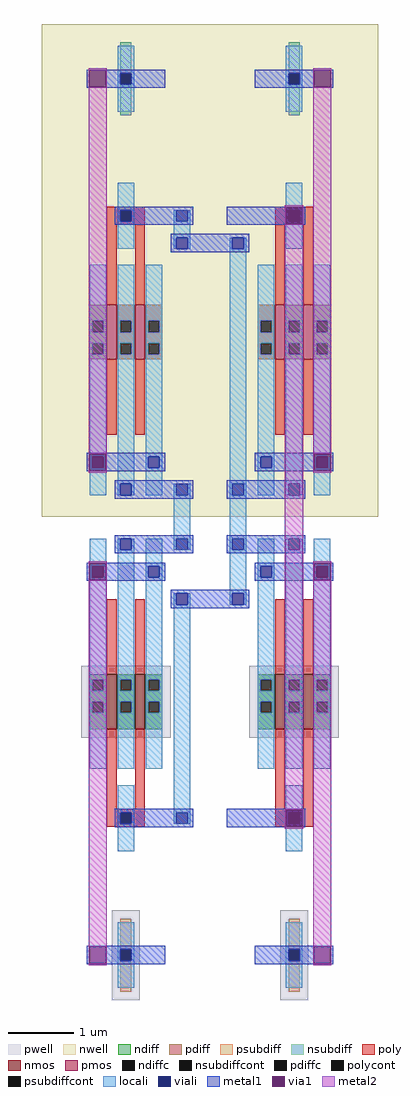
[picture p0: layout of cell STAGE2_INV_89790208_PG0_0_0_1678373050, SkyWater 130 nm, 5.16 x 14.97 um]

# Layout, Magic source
magic
tech sky130A
magscale 1 2
<< locali >>
rect 405 2419 413 2453
rect 447 2419 455 2453
rect 405 2369 455 2419
rect 405 2335 413 2369
rect 447 2335 455 2369
rect 577 2335 585 2369
rect 619 2335 627 2369
rect 577 1613 627 2335
rect 405 1579 413 1613
rect 447 1579 455 1613
rect 405 1445 455 1579
rect 405 1411 413 1445
rect 447 1411 455 1445
rect 577 1579 585 1613
rect 619 1579 627 1613
rect 577 1445 627 1579
rect 577 1411 585 1445
rect 619 1411 627 1445
rect 577 1277 627 1411
rect 405 1243 413 1277
rect 447 1243 455 1277
rect 577 1243 585 1277
rect 619 1243 627 1277
rect 405 605 455 1243
rect 405 571 413 605
rect 447 571 455 605
<< viali >>
rect 413 2419 447 2453
rect 413 2335 447 2369
rect 585 2335 619 2369
rect 413 1579 447 1613
rect 413 1411 447 1445
rect 585 1579 619 1613
rect 585 1411 619 1445
rect 413 1243 447 1277
rect 585 1243 619 1277
rect 413 571 447 605
<< metal1 >>
rect 396 2453 464 2464
rect 396 2419 413 2453
rect 447 2419 464 2453
rect 396 2408 464 2419
rect 742 2462 806 2464
rect 742 2410 748 2462
rect 800 2410 806 2462
rect 742 2408 806 2410
rect 396 2369 636 2380
rect 396 2335 413 2369
rect 447 2335 585 2369
rect 619 2335 636 2369
rect 396 2324 636 2335
rect 396 1613 464 1624
rect 396 1579 413 1613
rect 447 1579 464 1613
rect 396 1568 464 1579
rect 568 1613 636 1624
rect 568 1579 585 1613
rect 619 1579 636 1613
rect 568 1568 636 1579
rect 396 1445 464 1456
rect 396 1411 413 1445
rect 447 1411 464 1445
rect 396 1400 464 1411
rect 568 1445 636 1456
rect 568 1411 585 1445
rect 619 1411 636 1445
rect 568 1400 636 1411
rect 396 1277 636 1288
rect 396 1243 413 1277
rect 447 1243 585 1277
rect 619 1243 636 1277
rect 396 1232 636 1243
rect 396 605 464 616
rect 396 571 413 605
rect 447 571 464 605
rect 396 560 464 571
rect 742 614 806 616
rect 742 562 748 614
rect 800 562 806 614
rect 742 560 806 562
<< via1 >>
rect 748 2410 800 2462
rect 748 562 800 614
<< metal2 >>
rect 746 2462 802 2468
rect 746 2410 748 2462
rect 800 2410 802 2462
rect 746 614 802 2410
rect 746 562 748 614
rect 800 562 802 614
rect 746 556 802 562
use NMOS_S_48172527_X1_Y1_1678373048_1678373050  NMOS_S_48172527_X1_Y1_1678373048_1678373050_0
transform -1 0 516 0 -1 1512
box 52 56 395 1482
use NMOS_S_48172527_X1_Y1_1678373048_1678373050  NMOS_S_48172527_X1_Y1_1678373048_1678373050_1
transform 1 0 516 0 -1 1512
box 52 56 395 1482
use PMOS_S_99486525_X1_Y1_1678373049_1678373050  PMOS_S_99486525_X1_Y1_1678373049_1678373050_0
transform -1 0 516 0 1 1512
box 0 0 516 1512
use PMOS_S_99486525_X1_Y1_1678373049_1678373050  PMOS_S_99486525_X1_Y1_1678373049_1678373050_1
transform 1 0 516 0 1 1512
box 0 0 516 1512
<< end >>

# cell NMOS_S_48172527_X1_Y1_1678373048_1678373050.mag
magic
tech sky130A
magscale 1 2
<< pwell >>
rect 215 1206 301 1482
rect 121 457 395 677
<< nmos >>
rect 200 483 230 651
rect 286 483 316 651
<< ndiff >>
rect 147 601 200 651
rect 147 567 155 601
rect 189 567 200 601
rect 147 533 200 567
rect 147 499 155 533
rect 189 499 200 533
rect 147 483 200 499
rect 230 601 286 651
rect 230 567 241 601
rect 275 567 286 601
rect 230 533 286 567
rect 230 499 241 533
rect 275 499 286 533
rect 230 483 286 499
rect 316 601 369 651
rect 316 567 327 601
rect 361 567 369 601
rect 316 533 369 567
rect 316 499 327 533
rect 361 499 369 533
rect 316 483 369 499
<< ndiffc >>
rect 155 567 189 601
rect 155 499 189 533
rect 241 567 275 601
rect 241 499 275 533
rect 327 567 361 601
rect 327 499 361 533
<< psubdiff >>
rect 241 1361 275 1456
rect 241 1232 275 1327
<< psubdiffcont >>
rect 241 1327 275 1361
<< poly >>
rect 200 941 316 951
rect 200 907 241 941
rect 275 907 316 941
rect 200 897 316 907
rect 200 651 230 897
rect 286 651 316 897
rect 200 252 230 483
rect 286 252 316 483
<< polycont >>
rect 241 907 275 941
<< locali >>
rect 233 1361 283 1445
rect 233 1327 241 1361
rect 275 1327 283 1361
rect 233 1243 283 1327
rect 233 941 283 1025
rect 233 907 241 941
rect 275 907 283 941
rect 233 823 283 907
rect 147 601 197 773
rect 147 567 155 601
rect 189 567 197 601
rect 147 533 197 567
rect 147 499 155 533
rect 189 499 197 533
rect 147 185 197 499
rect 147 151 155 185
rect 189 151 197 185
rect 147 67 197 151
rect 233 601 283 773
rect 233 567 241 601
rect 275 567 283 601
rect 233 533 283 567
rect 233 499 241 533
rect 275 499 283 533
rect 233 101 283 499
rect 233 67 241 101
rect 275 67 283 101
rect 319 601 369 773
rect 319 567 327 601
rect 361 567 369 601
rect 319 533 369 567
rect 319 499 327 533
rect 361 499 369 533
rect 319 185 369 499
rect 319 151 327 185
rect 361 151 369 185
rect 319 67 369 151
<< viali >>
rect 241 1327 275 1361
rect 241 907 275 941
rect 155 151 189 185
rect 241 67 275 101
rect 327 151 361 185
<< metal1 >>
rect 138 1370 378 1372
rect 138 1361 318 1370
rect 138 1327 241 1361
rect 275 1327 318 1361
rect 138 1318 318 1327
rect 370 1318 378 1370
rect 138 1316 378 1318
rect 52 941 292 952
rect 52 907 241 941
rect 275 907 292 941
rect 52 896 292 907
rect 138 194 378 196
rect 138 185 318 194
rect 138 151 155 185
rect 189 151 318 185
rect 138 142 318 151
rect 370 142 378 194
rect 138 140 378 142
rect 52 101 292 112
rect 52 67 241 101
rect 275 67 292 101
rect 52 56 292 67
<< via1 >>
rect 318 1318 370 1370
rect 318 185 370 194
rect 318 151 327 185
rect 327 151 361 185
rect 361 151 370 185
rect 318 142 370 151
<< metal2 >>
rect 316 1370 372 1376
rect 316 1318 318 1370
rect 370 1318 372 1370
rect 316 194 372 1318
rect 316 142 318 194
rect 370 142 372 194
rect 316 136 372 142
<< end >>

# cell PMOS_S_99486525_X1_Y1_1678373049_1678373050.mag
magic
tech sky130A
magscale 1 2
<< nwell >>
rect 0 0 516 1512
<< pmos >>
rect 200 483 230 651
rect 286 483 316 651
<< pdiff >>
rect 147 601 200 651
rect 147 567 155 601
rect 189 567 200 601
rect 147 533 200 567
rect 147 499 155 533
rect 189 499 200 533
rect 147 483 200 499
rect 230 601 286 651
rect 230 567 241 601
rect 275 567 286 601
rect 230 533 286 567
rect 230 499 241 533
rect 275 499 286 533
rect 230 483 286 499
rect 316 601 369 651
rect 316 567 327 601
rect 361 567 369 601
rect 316 533 369 567
rect 316 499 327 533
rect 361 499 369 533
rect 316 483 369 499
<< pdiffc >>
rect 155 567 189 601
rect 155 499 189 533
rect 241 567 275 601
rect 241 499 275 533
rect 327 567 361 601
rect 327 499 361 533
<< nsubdiff >>
rect 241 1361 275 1456
rect 241 1232 275 1327
<< nsubdiffcont >>
rect 241 1327 275 1361
<< poly >>
rect 200 941 316 951
rect 200 907 241 941
rect 275 907 316 941
rect 200 897 316 907
rect 200 651 230 897
rect 286 651 316 897
rect 200 252 230 483
rect 286 252 316 483
<< polycont >>
rect 241 907 275 941
<< locali >>
rect 233 1361 283 1445
rect 233 1327 241 1361
rect 275 1327 283 1361
rect 233 1243 283 1327
rect 233 941 283 1025
rect 233 907 241 941
rect 275 907 283 941
rect 233 823 283 907
rect 147 601 197 773
rect 147 567 155 601
rect 189 567 197 601
rect 147 533 197 567
rect 147 499 155 533
rect 189 499 197 533
rect 147 185 197 499
rect 147 151 155 185
rect 189 151 197 185
rect 147 67 197 151
rect 233 601 283 773
rect 233 567 241 601
rect 275 567 283 601
rect 233 533 283 567
rect 233 499 241 533
rect 275 499 283 533
rect 233 101 283 499
rect 233 67 241 101
rect 275 67 283 101
rect 319 601 369 773
rect 319 567 327 601
rect 361 567 369 601
rect 319 533 369 567
rect 319 499 327 533
rect 361 499 369 533
rect 319 185 369 499
rect 319 151 327 185
rect 361 151 369 185
rect 319 67 369 151
<< viali >>
rect 241 1327 275 1361
rect 241 907 275 941
rect 155 151 189 185
rect 241 67 275 101
rect 327 151 361 185
<< metal1 >>
rect 138 1370 378 1372
rect 138 1361 318 1370
rect 138 1327 241 1361
rect 275 1327 318 1361
rect 138 1318 318 1327
rect 370 1318 378 1370
rect 138 1316 378 1318
rect 52 941 292 952
rect 52 907 241 941
rect 275 907 292 941
rect 52 896 292 907
rect 138 194 378 196
rect 138 185 318 194
rect 138 151 155 185
rect 189 151 318 185
rect 138 142 318 151
rect 370 142 378 194
rect 138 140 378 142
rect 52 101 292 112
rect 52 67 241 101
rect 275 67 292 101
rect 52 56 292 67
<< via1 >>
rect 318 1318 370 1370
rect 318 185 370 194
rect 318 151 327 185
rect 327 151 361 185
rect 361 151 370 185
rect 318 142 370 151
<< metal2 >>
rect 316 1370 372 1376
rect 316 1318 318 1370
rect 370 1318 372 1370
rect 316 194 372 1318
rect 316 142 318 194
rect 370 142 372 194
rect 316 136 372 142
<< end >>
